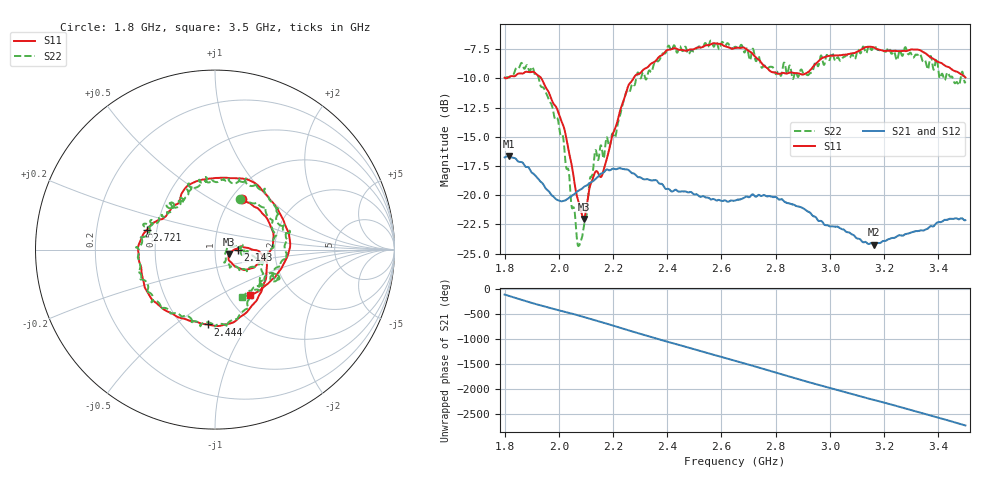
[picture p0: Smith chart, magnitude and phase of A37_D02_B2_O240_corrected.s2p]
! Created with skrf 1.9.0 (http://scikit-rf.org).
# Hz S RI R 50.0
!freq ReS11 ImS11 ReS21 ImS21 ReS12 ImS12 ReS22 ImS22
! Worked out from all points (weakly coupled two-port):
!   1601 points, 1.8 GHz to 3.5 GHz, reference 50 ohm
!   highest |S21| = -16.67 dB at 1.816 GHz (marker M1); lowest = -24.2 dB at 3.163 GHz (marker M2)
!   lowest |S11| = -22.0 dB at 2.092 GHz (marker M3), VSWR 1.17, Z = 58.1 - j2.78 ohm
!   |S11| at or under -10 dB: 1.936 GHz to 2.275 GHz (339.8 MHz wide, 16.1 % of centre)
!   |S22| runs from -24.4 to -6.8 dB; largest |S21 - S12| = 0.0025
!   S11 on the Smith chart (normalised r, x): 1.8 GHz: 1.12, +0.70; 2.143 GHz: 1.29, -0.01; 2.444 GHz: 0.66, -0.66; 2.721 GHz: 0.44, +0.11; 3.5 GHz: 1.26, -0.71
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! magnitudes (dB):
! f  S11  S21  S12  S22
! 1.8 GHz  -9.9  -16.8  -16.7  -10.0
! 1.816 GHz  -9.9  -16.7  -16.7  -9.9
! 1.902 GHz  -9.4  -18.1  -18.1  -9.0
! 1.966 GHz  -11.3  -19.7  -19.8  -11.9
! 2.02 GHz  -14.3  -20.5  -20.5  -15.9
! 2.07 GHz  -20.3  -19.6  -19.7  -24.3
! 2.084 GHz  -21.5  -19.5  -19.4  -23.7
! 2.092 GHz  -22.0  -19.3  -19.3  -22.7
! 2.118 GHz  -19.0  -18.9  -18.9  -18.4
! 2.143 GHz  -18.0  -18.4  -18.4  -16.9
! 2.162 GHz  -18.1  -18.1  -18.0  -16.6
! 2.208 GHz  -14.3  -17.8  -17.7  -15.0
! 2.259 GHz  -10.5  -17.9  -17.9  -11.2
! 2.367 GHz  -8.2  -18.9  -18.9  -8.5
! 2.444 GHz  -7.6  -19.7  -19.7  -7.3
! 2.65 GHz  -7.4  -20.4  -20.4  -7.3
! 2.721 GHz  -8.1  -20.0  -19.9  -7.9
! 2.808 GHz  -9.6  -20.3  -20.3  -9.4
! 2.934 GHz  -9.1  -21.7  -21.7  -9.5
! 3.163 GHz  -7.4  -24.2  -24.2  -7.2
! 3.217 GHz  -7.6  -23.8  -23.7  -7.4
! 3.5 GHz  -9.9  -22.1  -22.1  -10.3
